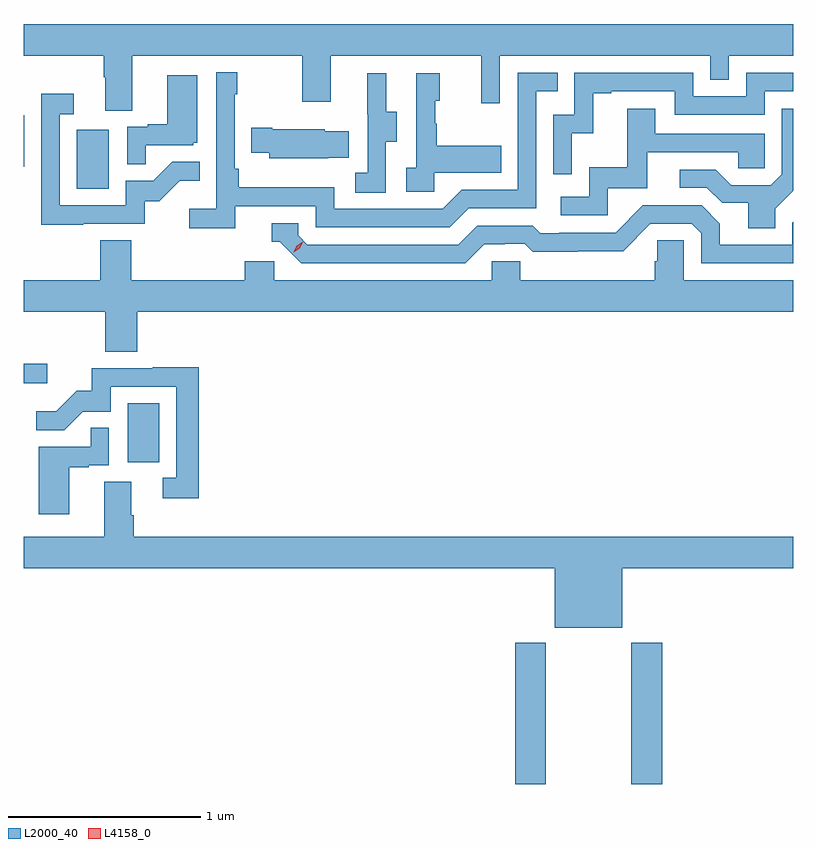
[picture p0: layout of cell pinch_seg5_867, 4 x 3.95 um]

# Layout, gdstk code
import gdstk
lib = gdstk.Library(unit=1e-6, precision=1e-09)
def R(c, l, rs):  # rectangles x0, y0, x1, y1
    for r in rs: c.add(gdstk.rectangle(r[:2], r[2:], *l))
def P(c, l, *ps):  # polygons
    for p in ps: c.add(gdstk.Polygon(p, *l))
L2000_40 = (2000, 40)
L4158_0 = (4158, 0)

pinch_seg5_867 = lib.new_cell('pinch_seg5_867')
R(pinch_seg5_867, L2000_40, [(864.677,871.622,864.837,872.356), (865.282,871.622,865.442,872.356), (862.664,873.294,862.828,873.601), (862.123,873.704,862.246,873.806), (862.4,874.716,862.564,875.023), (862.123,874.829,862.126,875.098)])
P(pinch_seg5_867, L2000_40, [(862.687,875.408),(863.572,875.408),(863.572,875.169),(863.719,875.169),(863.719,875.408),(864.5,875.408),(864.5,875.16),(864.597,875.16),(864.597,875.408),(865.692,875.408),(865.692,875.281),(865.788,875.281),(865.788,875.408),(866.123,875.408),(866.123,875.572),(862.123,875.572),(862.123,875.408),(862.54,875.408),(862.54,875.296),(862.547,875.296),(862.547,875.122),(862.687,875.122)],
  [(863.222,874.626),(863.64,874.626),(863.64,874.515),(864.337,874.515),(864.436,874.614),(864.786,874.614),(864.786,875.223),(864.899,875.223),(864.899,875.319),(864.69,875.319),(864.69,874.71),(864.399,874.71),(864.3,874.611),(863.736,874.611),(863.736,874.723),(863.24,874.723),(863.24,874.819),(863.22,874.819),(863.22,875.207),(863.233,875.207),(863.233,875.32),(863.124,875.32),(863.124,874.612),(862.983,874.612),(862.983,874.51),(863.222,874.51)],
  [(864.972,875.003),(865.082,875.003),(865.082,875.211),(865.177,875.211),(865.177,875.223),(865.506,875.223),(865.506,875.1),(865.974,875.1),(865.974,875.223),(866.123,875.223),(866.123,875.319),(865.878,875.319),(865.878,875.196),(865.602,875.196),(865.602,875.319),(864.984,875.319),(864.984,875.1),(864.876,875.1),(864.876,874.791),(864.972,874.791)],
  [(864.006,874.96),(864.061,874.96),(864.061,875.115),(864.007,875.115),(864.007,875.317),(863.909,875.317),(863.909,875.103),(863.91,875.103),(863.91,874.799),(863.847,874.799),(863.847,874.696),(864.006,874.696)],
  [(864.258,874.799),(864.605,874.799),(864.605,874.939),(864.271,874.939),(864.271,875.054),(864.261,875.054),(864.261,875.172),(864.286,875.172),(864.286,875.317),(864.162,875.317),(864.162,874.826),(864.111,874.826),(864.111,874.701),(864.258,874.701)],
  [(862.757,874.941),(863.004,874.941),(863.004,874.956),(863.026,874.956),(863.026,875.305),(862.868,875.305),(862.868,875.05),(862.769,875.05),(862.769,875.037),(862.662,875.037),(862.662,874.843),(862.757,874.843)],
  [(862.433,874.533),(862.752,874.533),(862.752,874.65),(862.828,874.65),(862.935,874.757),(863.039,874.757),(863.039,874.856),(862.895,874.856),(862.797,874.758),(862.653,874.758),(862.653,874.629),(862.311,874.629),(862.311,875.103),(862.384,875.103),(862.384,875.209),(862.215,875.209),(862.215,874.528),(862.433,874.528)],
  [(866.029,874.612),(866.123,874.706),(866.123,875.131),(866.064,875.131),(866.064,874.791),(866.007,874.734),(865.801,874.734),(865.72,874.815),(865.533,874.815),(865.533,874.722),(865.674,874.722),(865.754,874.642),(865.889,874.642),(865.889,874.51),(866.029,874.51)],
  [(865.158,874.719),(865.363,874.719),(865.363,874.905),(865.837,874.905),(865.837,874.821),(865.974,874.821),(865.974,875.001),(865.405,875.001),(865.405,875.131),(865.261,875.131),(865.261,874.828),(865.062,874.828),(865.062,874.674),(864.915,874.674),(864.915,874.578),(865.158,874.578)],
  [(863.705,874.877),(863.813,874.877),(863.813,875.014),(863.688,875.014),(863.688,875.026),(863.416,875.026),(863.416,875.034),(863.305,875.034),(863.305,874.904),(863.399,874.904),(863.399,874.874),(863.705,874.874)],
  [(864.517,874.428),(864.624,874.428),(864.624,874.431),(864.727,874.431),(864.769,874.389),(865.002,874.389),(865.002,874.391),(865.238,874.391),(865.38,874.533),(865.596,874.533),(865.644,874.485),(865.644,874.329),(866.123,874.329),(866.123,874.544),(866.118,874.539),(866.118,874.425),(865.741,874.425),(865.741,874.535),(865.647,874.629),(865.341,874.629),(865.2,874.488),(864.907,874.488),(864.907,874.485),(864.808,874.485),(864.769,874.524),(864.48,874.524),(864.381,874.425),(863.598,874.425),(863.55,874.473),(863.55,874.536),(863.411,874.536),(863.411,874.44),(863.454,874.44),(863.565,874.329),(864.418,874.329)],
  [(862.712,874.076),(866.123,874.076),(866.123,874.24),(865.554,874.24),(865.554,874.448),(865.417,874.448),(865.417,874.338),(865.403,874.338),(865.403,874.24),(864.705,874.24),(864.705,874.338),(864.555,874.338),(864.555,874.24),(863.424,874.24),(863.424,874.338),(863.273,874.338),(863.273,874.24),(862.682,874.24),(862.682,874.448),(862.522,874.448),(862.522,874.24),(862.123,874.24),(862.123,874.076),(862.547,874.076),(862.547,873.868),(862.712,873.868)],
  [(863.033,873.788),(862.795,873.788),(862.795,873.783),(862.477,873.783),(862.477,873.666),(862.4,873.666),(862.293,873.559),(862.189,873.559),(862.189,873.46),(862.333,873.46),(862.431,873.558),(862.575,873.558),(862.575,873.687),(862.917,873.687),(862.917,873.213),(862.845,873.213),(862.845,873.108),(863.033,873.108)],
  [(862.36,873.267),(862.46,873.267),(862.46,873.279),(862.566,873.279),(862.566,873.473),(862.471,873.473),(862.471,873.375),(862.202,873.375),(862.202,873.024),(862.36,873.024)],
  [(865.234,872.744),(866.123,872.744),(866.123,872.908),(862.694,872.908),(862.694,873.02),(862.681,873.02),(862.681,873.194),(862.541,873.194),(862.541,872.908),(862.123,872.908),(862.123,872.744),(864.884,872.744),(864.884,872.435),(865.234,872.435)])
P(pinch_seg5_867, L4158_0, [(863.527,874.387),(863.527,874.387),(863.543,874.42),(863.573,874.44),(863.574,874.44),(863.574,874.439),(863.558,874.406),(863.527,874.387)])

lib.write_gds('pinch_seg5_867.gds')
